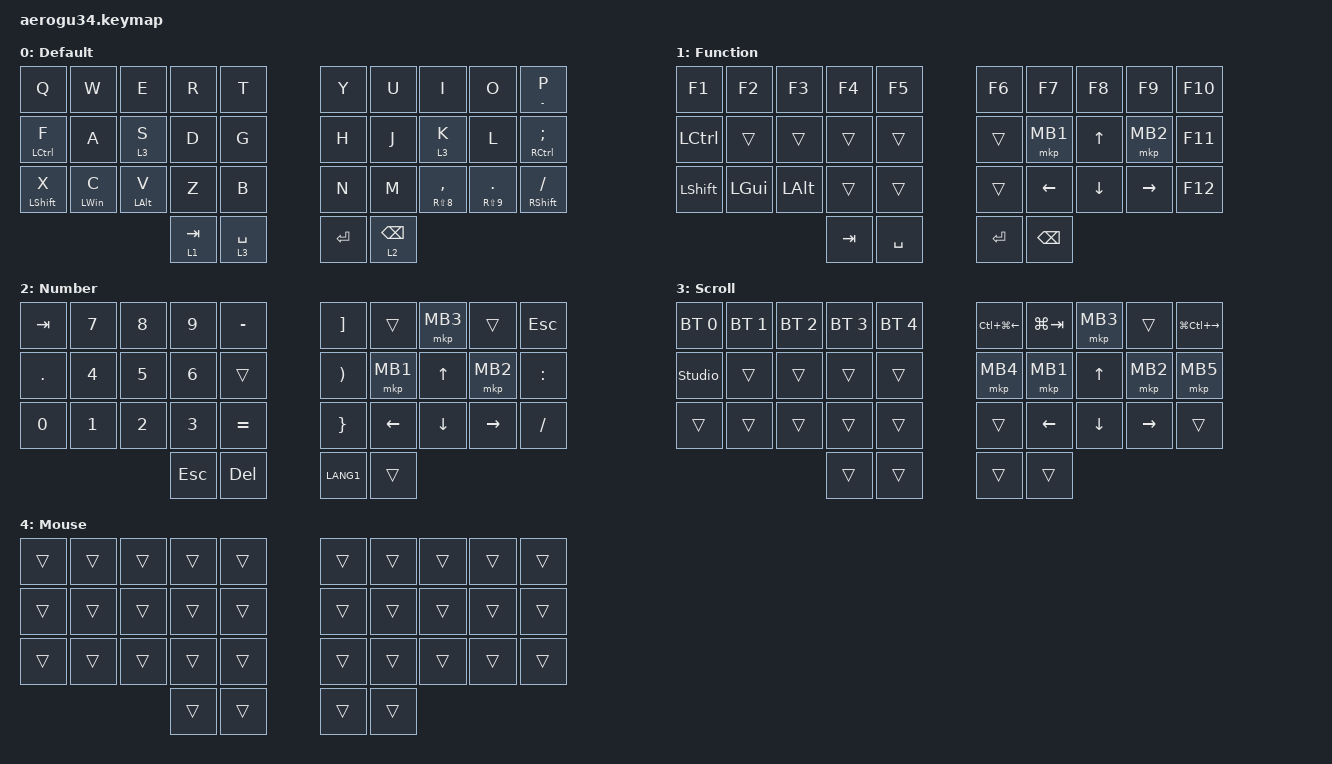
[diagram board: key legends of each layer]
#define ZMK_POINTING_DEFAULT_SCRL_VAL 200

#include <dt-bindings/zmk/mouse.h>
#include <behaviors.dtsi>
#include <dt-bindings/zmk/bt.h>
#include <dt-bindings/zmk/keys.h>
#include <dt-bindings/zmk/pointing.h>

// OS設定を日本語キーボードのまま使用するための変換定義

#define JP_DQUOTE       AT                // "
#define JP_AMPERSAND    CARET             // &
#define JP_QUOTE        AMPERSAND         // '
#define JP_EQUAL        UNDER             // =
#define JP_CARET        EQUAL             // ^
#define JP_YEN          0x89              // ¥
#define JP_PLUS         COLON             // +
#define JP_TILDE        PLUS              // ~
#define JP_PIPE         LS(0x89)          // |
#define JP_AT           LEFT_BRACKET      // @
#define JP_COLON        SINGLE_QUOTE      // :
#define JP_ASTERISK     DOUBLE_QUOTES     // *
#define JP_BACKQUOTE    LEFT_BRACE        // `
#define JP_UNDERSCORE   LS(0x87)          // _
#define JP_LBRACKET     RIGHT_BRACKET     // [
#define JP_RBRACKET     BACKSLASH         // ]
#define JP_LPAREN       ASTERISK          // (
#define JP_RPAREN       LEFT_PARENTHESIS  // )
#define JP_LBRACE       RIGHT_BRACE       // {
#define JP_RBRACE       PIPE              // }
#define JP_KANA         LANGUAGE_1        // かな
#define JP_EISU         LANGUAGE_2        // 英数
#define JP_HANZEN       GRAVE             // 半角/全角

&mt {
    tapping-term-ms = <300>;
    flavor = "balanced";
};

&lt { quick-tap-ms = <300>; };

/ {
    combos {
        compatible = "zmk,combos";

        btreset {
            bindings = <&bt BT_CLR>;
            key-positions = <0 4>;
            layers = <3>;
        };

        boot {
            bindings = <&bootloader>;
            key-positions = <1 2 3>;
            layers = <3>;
        };

        mk1 {
            bindings = <&mkp MB1>;
            key-positions = <16 17>;
        };

        mk2 {
            bindings = <&mkp MB2>;
            key-positions = <17 18>;
        };

        lang1 {
            bindings = <&kp LANG1>;
            key-positions = <23 24>;
        };

        lang2 {
            bindings = <&kp LANG2>;
            key-positions = <25 26>;
        };

        brace {
            bindings = <&kp LS(N8)>;
            key-positions = <3 4>;
        };

        brace1 {
            bindings = <&kp RS(N9)>;
            key-positions = <5 6>;
        };

        bracket {
            bindings = <&kp LEFT_BRACKET>;
            key-positions = <14 13>;
        };

        bracket1 {
            bindings = <&kp RIGHT_BRACKET>;
            key-positions = <15 16>;
        };

        exc {
            bindings = <&kp RS(NUMBER_1)>;
            key-positions = <8 9>;
        };

        up {
            bindings = <&kp UP_ARROW>;
            key-positions = <17 7>;
        };

        down {
            bindings = <&kp DOWN_ARROW>;
            key-positions = <17 27>;
        };

        left {
            bindings = <&kp LEFT_ARROW>;
            key-positions = <26 27>;
        };

        right {
            bindings = <&kp RIGHT_ARROW>;
            key-positions = <27 28>;
        };

        one {
            bindings = <&kp NUMBER_1>;
            key-positions = <0 1>;
        };

        two {
            bindings = <&kp NUMBER_2>;
            key-positions = <10 11>;
        };

        three {
            bindings = <&kp NUMBER_3>;
            key-positions = <20 21>;
        };

        four {
            bindings = <&kp NUMBER_4>;
            key-positions = <1 2>;
        };

        five {
            bindings = <&kp NUMBER_5>;
            key-positions = <11 12>;
        };

        six {
            bindings = <&kp NUMBER_6>;
            key-positions = <21 22>;
        };

        seven {
            bindings = <&kp NUMBER_7>;
            key-positions = <2 3>;
        };

        eight {
            bindings = <&kp NUMBER_8>;
            key-positions = <12 13>;
        };

        nine {
            bindings = <&kp NUMBER_9>;
            key-positions = <22 23>;
        };

        zero {
            bindings = <&kp NUMBER_0>;
            key-positions = <22 23 30>;
        };

        scn {
            bindings = <&kp PRINTSCREEN>;
            key-positions = <27 33 26>;
        };

        psc {
            bindings = <&kp LG(LS(S))>;
            key-positions = <26 25 33>;
        };

        mb1 {
            bindings = <&mkp MB1>;
            key-positions = <31 12 13>;
        };

        mb2 {
            bindings = <&mkp MB2>;
            key-positions = <31 12 11>;
        };
    };

    keymap {
        compatible = "zmk,keymap";

        default_layer {
            display-name = "Default";
            bindings = <
&kp Q             &kp W           &kp E           &kp R  &kp T  &kp Y      &kp U            &kp I             &kp O           &mt MINUS P
&mt LCTRL F       &kp A           &lt 3 S         &kp D  &kp G  &kp H      &kp J            &lt 3 K           &kp L           &mt RCTRL SEMI
&mt LEFT_SHIFT X  &mt LEFT_WIN C  &mt LEFT_ALT V  &kp Z  &kp B  &kp N      &kp M            &mt RS(N8) COMMA  &mt RS(N9) DOT  &mt RIGHT_SHIFT SLASH
&lt 1 TAB         &lt 3 SPACE                                   &kp ENTER  &lt 2 BACKSPACE
            >;
        };

        function_layer {
            display-name = "Function";
            bindings = <
&kp F1            &kp F2        &kp F3        &kp F4  &kp F5  &kp F6     &kp F7         &kp F8    &kp F9     &kp F10
&kp LEFT_CONTROL  &trans        &trans        &trans  &trans  &trans     &mkp MB1       &kp UP    &mkp MB2   &kp F11
&kp LEFT_SHIFT    &kp LEFT_GUI  &kp LEFT_ALT  &trans  &trans  &trans     &kp LEFT       &kp DOWN  &kp RIGHT  &kp F12
&kp TAB           &kp SPACE                                   &kp ENTER  &kp BACKSPACE
            >;
        };

        number_layer {
            display-name = "Number";
            bindings = <
&kp TAB       &kp N7        &kp N8        &kp N9        &kp MINUS  &kp RIGHT_BRACKET  &trans    &mkp MB3  &trans     &kp ESC
&kp DOT       &kp NUMBER_4  &kp N5        &kp NUMBER_6  &trans     &kp RPAR           &mkp MB1  &kp UP    &mkp MB2   &kp COLON
&kp NUMBER_0  &kp NUMBER_1  &kp NUMBER_2  &kp NUMBER_3  &kp EQUAL  &kp RIGHT_BRACE    &kp LEFT  &kp DOWN  &kp RIGHT  &kp SLASH
&kp ESC       &kp DEL                                              &kp LANG1          &trans
            >;
        };

        scroll_layer {
            display-name = "Scroll";
            bindings = <
&bt BT_SEL 0    &bt BT_SEL 1  &bt BT_SEL 2  &bt BT_SEL 3  &bt BT_SEL 4  &kp LC(LG(LEFT))  &kp LG(TAB)  &mkp MB3  &trans     &kp LG(LC(RIGHT))
&studio_unlock  &trans        &trans        &trans        &trans        &mkp MB4          &mkp MB1     &kp UP    &mkp MB2   &mkp MB5
&trans          &trans        &trans        &trans        &trans        &trans            &kp LEFT     &kp DOWN  &kp RIGHT  &trans
&trans          &trans                                                  &trans            &trans
            >;
        };

        mouse_layer {
            display-name = "Mouse";
            bindings = <
&trans  &trans  &trans  &trans  &trans  &trans  &trans  &trans  &trans  &trans
&trans  &trans  &trans  &trans  &trans  &trans  &trans  &trans  &trans  &trans
&trans  &trans  &trans  &trans  &trans  &trans  &trans  &trans  &trans  &trans
&trans  &trans                          &trans  &trans
            >;
        };
    };
};
